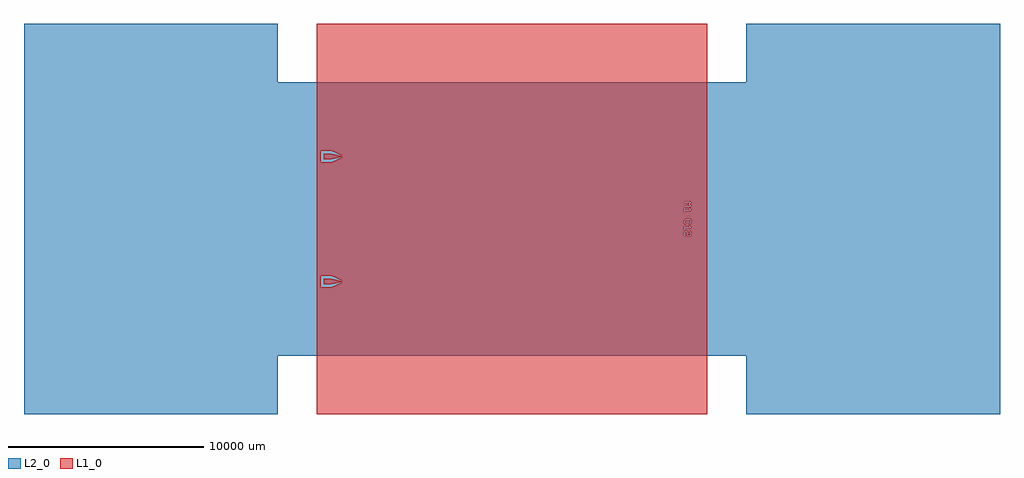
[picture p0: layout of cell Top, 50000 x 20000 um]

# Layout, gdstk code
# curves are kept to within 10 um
import gdstk
lib = gdstk.Library(unit=1e-6, precision=1e-09)
def R(c, l, rs):  # rectangles x0, y0, x1, y1
    for r in rs: c.add(gdstk.rectangle(r[:2], r[2:], *l))
def P(c, l, *ps):  # polygons
    for p in ps: c.add(gdstk.Polygon(p, *l))
L1_0 = (1, 0)
L2_0 = (2, 0)

top = lib.new_cell('Top')
P(top, L1_0, [(-9650,-3350),(-9650,-3050),(-9250,-3050),(-8640,-3190),(-2405,-3190),(-2364.285,-3182.187),(-2329.353,-3159.86),(-2305.167,-3126.188),(-2295,-3080),(-2295,3080),(-2305.167,3126.188),(-2333.788,3163.838),(-2369.877,3184.242),(-2405,3190),(-8640,3190),(-9250,3050),(-9650,3050),(-9650,3350),(-9250,3350),(-8640,3210),(-2405,3210),(-2350.414,3197.985),(-2305.919,3164.16),(-2284.233,3128.118),(-2275,3080),(-2275,-3080),(-2287.015,-3134.586),(-2320.84,-3179.081),(-2356.882,-3200.767),(-2405,-3210),(-8640,-3210),(-9250,-3350)],
  [(-10000,-10000),(-10000,10000),(10000,10000),(10000,-10000),(9175,-10000),(9175,675),(9125,725),(9125,775),(9175,825),(9175,875),(8825,875),(8825,825),(9075,825),(9075,800),(9025,750),(9075,700),(9075,675),(8825,675),(8825,625),(9175,625),(9175,475),(9075,575),(9025,575),(9025,550),(9075,500),(9075,475),(8875,475),(8875,575),(8825,575),(8825,325),(8875,325),(8875,425),(9175,425),(9175,-75),(9125,-25),(9075,-25),(9075,175),(9025,175),(9025,125),(9075,125),(9075,-25),(8975,-25),(8975,175),(8925,175),(8925,125),(8975,125),(8975,-25),(8875,-25),(8825,-75),(8825,-225),(8875,-275),(8925,-275),(8925,-225),(8900,-225),(8875,-200),(8875,-100),(8900,-75),(9100,-75),(9125,-100),(9125,-200),(9100,-225),(9075,-225),(9075,-275),(9125,-275),(9175,-225),(9175,-425),(9075,-325),(9025,-325),(9025,-350),(9075,-400),(9075,-425),(8875,-425),(8875,-325),(8825,-325),(8825,-575),(8875,-575),(8875,-475),(9175,-475),(9175,-675),(9125,-625),(9075,-625),(9075,-675),(9100,-675),(9125,-700),(9125,-800),(9100,-825),(9025,-825),(9000,-800),(9000,-675),(8950,-625),(8825,-625),(8825,-875),(8875,-875),(8875,-675),(8925,-675),(8950,-700),(8950,-825),(9000,-875),(9125,-875),(9175,-825),(9175,-10000),(20,-10000),(20,2270),(10,-2300),(-5.143,-2360.893),(-47.046,-2407.6),(-112.962,-2429.809),(-2120,-2430),(-2209.401,-2394.379),(-2237.985,-2354.586),(-2250,-2300),(-2250,-2100),(-2230,-2100),(-2224.242,-2335.123),(-2191.212,-2383.838),(-2131.893,-2409.355),(-114.045,-2409.839),(-58.269,-2391.046),(-20.167,-2346.188),(-10,-2300),(-10,2270),(-20,-2300),(-31.649,-2346.841),(-68.445,-2385.686),(-120,-2400),(-2130.812,-2399.414),(-2180.517,-2379.609),(-2212.898,-2337.014),(-2220,-2090),(-2260,-2090),(-2252.671,-2344.702),(-2210.634,-2406.703),(-2135.137,-2439.179),(-112.421,-2439.795),(-18.361,-2396.278),(20,-2300),(20,-10000),(-2265,-10000),(-2265,3080),(-2281.308,3145.577),(-2332.822,3199.96),(-2405,3220),(-8640,3220),(-9250,3500),(-9800,3500),(-9800,2900),(-9250,2900),(-8640,3180),(-2405,3180),(-2353.445,3165.686),(-2316.649,3126.841),(-2305,3080),(-2305,-3080),(-2340.261,-3156.216),(-2405,-3180),(-8640,-3180),(-9250,-2900),(-9800,-2900),(-9800,-3500),(-9250,-3500),(-8640,-3220),(-2405,-3220),(-2308.722,-3181.639),(-2277.939,-3138.784),(-2265,-3080),(-2265,-10000)])
R(top, L2_0, [(-23100,-7150,-22500,-7000), (-23100,-7000,-22950,-5000), (-22650,-7000,-22500,-5000), (-21000,-3500,-10500,-3350), (-10500,-3500,-10350,-2900), (-21000,-3050,-10500,-2900), (-21000,2900,-10500,3050), (-10500,2900,-10350,3500), (-21000,3350,-10500,3500), (-23100,5000,-22950,7000), (-22650,5000,-22500,7000), (-23100,7000,-22500,7150)])
P(top, L2_0, [(-25000,-10000),(-25000,10000),(-12000,10000),(-12000,7000),(12000,7000),(12000,10000),(25000,10000),(25000,-10000),(12000,-10000),(12000,-7000),(-12000,-7000),(-12000,-10000)],
  [(-21000,3350),(-21266.94,3371.735),(-21610.725,3467.195),(-21925.965,3634.31),(-22134.705,3802.1),(-22365.69,4074.035),(-22497.495,4307.18),(-22611.42,4645.295),(-22650,5000),(-22500,5000),(-22480.245,4757.33),(-22393.47,4444.79),(-22241.535,4158.215),(-22089,3968.45),(-21841.785,3758.465),(-21629.835,3638.63),(-21322.455,3535.07),(-21000,3500)],
  [(-21000,2900),(-21339.735,2927.66),(-21561.81,2976.545),(-21777.285,3049.145),(-22082.67,3200.6),(-22270.86,3328.205),(-22444.17,3475.415),(-22671.795,3729.14),(-22799.4,3917.33),(-22905.915,4118.24),(-22990.065,4329.47),(-23050.905,4548.56),(-23087.685,4772.945),(-23100,5000),(-22950,5000),(-22938.57,4789.175),(-22904.415,4580.81),(-22811.505,4278.23),(-22722.855,4086.605),(-22614,3905.69),(-22415.685,3658.985),(-22180.095,3447.62),(-22005.33,3329.135),(-21818.79,3230.225),(-21622.635,3152.075),(-21419.19,3095.585),(-21210.825,3061.43),(-21000,3050)],
  [(-22650,-5000),(-22628.265,-4733.06),(-22532.805,-4389.275),(-22365.69,-4074.035),(-22197.9,-3865.295),(-21925.965,-3634.31),(-21692.82,-3502.505),(-21354.705,-3388.58),(-21000,-3350),(-21000,-3500),(-21242.67,-3519.755),(-21555.21,-3606.53),(-21841.785,-3758.465),(-22031.55,-3911),(-22241.535,-4158.215),(-22361.37,-4370.165),(-22464.93,-4677.545),(-22500,-5000)],
  [(-23100,-5000),(-23072.34,-4660.265),(-23023.455,-4438.19),(-22950.855,-4222.715),(-22799.4,-3917.33),(-22671.795,-3729.14),(-22524.585,-3555.83),(-22270.86,-3328.205),(-22082.67,-3200.6),(-21881.76,-3094.085),(-21670.53,-3009.935),(-21451.44,-2949.095),(-21227.055,-2912.315),(-21000,-2900),(-21000,-3050),(-21210.825,-3061.43),(-21419.19,-3095.585),(-21721.77,-3188.495),(-21913.395,-3277.145),(-22094.31,-3386),(-22341.015,-3584.315),(-22552.38,-3819.905),(-22670.865,-3994.67),(-22769.775,-4181.21),(-22847.925,-4377.365),(-22904.415,-4580.81),(-22938.57,-4789.175),(-22950,-5000)])

lib.write_gds('Top.gds')
